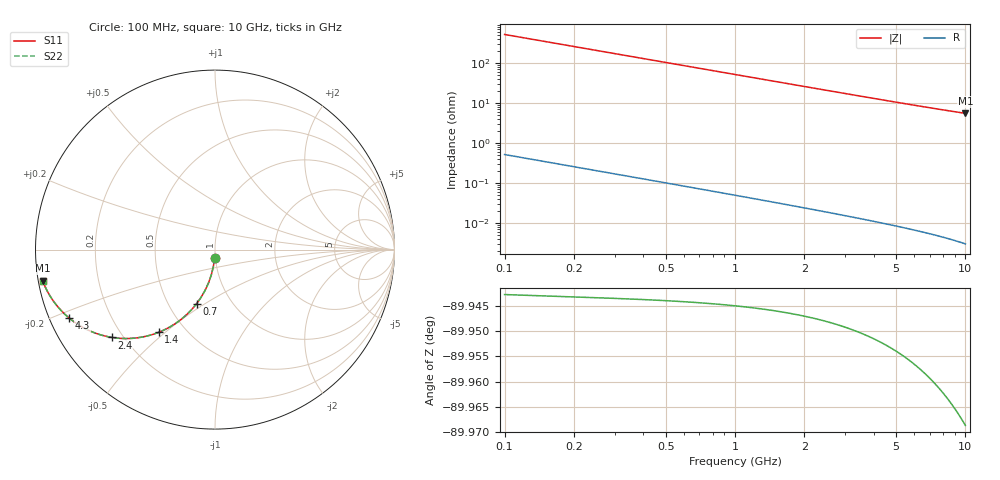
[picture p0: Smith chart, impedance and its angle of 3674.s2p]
# Hz S RI R 50.00
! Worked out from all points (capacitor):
!   100 points, 100 MHz to 10 GHz, reference 50 ohm
!   read as one part in shunt: C = 3.08 pF near 100 MHz
!   lowest |Z| = 5.53 ohm at 10 GHz (marker M1)
!   S11 on the Smith chart (normalised r, x): 100 MHz: 0.99, -0.10; 700 MHz: 0.69, -0.46; 1.4 GHz: 0.35, -0.48; 2.4 GHz: 0.16, -0.36; 4.3 GHz: 0.06, -0.22; 10 GHz: 0.01, -0.09
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1e8  -0.00228 -0.048  0.9975 -0.0484  0.9975 -0.0484  -0.00228 -0.048
2e8  -0.00926 -0.0954  0.9905 -0.0962  0.9905 -0.0962  -0.00926 -0.0954
3e8  -0.0206 -0.1415  0.9792 -0.1426  0.9792 -0.1426  -0.0206 -0.1415
4e8  -0.0361 -0.1856  0.9637 -0.1871  0.9637 -0.1871  -0.0361 -0.1856
5e8  -0.0553 -0.2274  0.9445 -0.2293  0.9445 -0.2293  -0.0553 -0.2274
6e8  -0.0778 -0.2663  0.922 -0.2686  0.922 -0.2686  -0.0778 -0.2663
7e8  -0.103 -0.3022  0.8968 -0.3049  0.8968 -0.3049  -0.103 -0.3022
8e8  -0.1303 -0.3348  0.8695 -0.3378  0.8695 -0.3378  -0.1303 -0.3348
1e9  -0.1897 -0.3897  0.8101 -0.3935  0.8101 -0.3935  -0.1897 -0.3897
1.2e9  -0.2521 -0.4315  0.7477 -0.4361  0.7477 -0.4361  -0.2521 -0.4315
1.4e9  -0.3145 -0.4612  0.6853 -0.4665  0.6853 -0.4665  -0.3145 -0.4612
1.8e9  -0.4313 -0.4913  0.5685 -0.4982  0.5685 -0.4982  -0.4313 -0.4913
2.1e9  -0.508 -0.4954  0.4918 -0.5034  0.4918 -0.5034  -0.508 -0.4954
2.4e9  -0.5742 -0.4893  0.4255 -0.4985  0.4255 -0.4985  -0.5742 -0.4893
2.9e9  -0.6634 -0.4664  0.3364 -0.4775  0.3364 -0.4775  -0.6634 -0.4664
3.4e9  -0.7305 -0.4365  0.2692 -0.4496  0.2692 -0.4496  -0.7305 -0.4365
3.8e9  -0.7722 -0.4115  0.2275 -0.4261  0.2275 -0.4261  -0.7722 -0.4115
4.3e9  -0.813 -0.381  0.1867 -0.3976  0.1867 -0.3976  -0.813 -0.381
5.1e9  -0.8598 -0.3366  0.1398 -0.3563  0.1398 -0.3563  -0.8598 -0.3366
6.7e9  -0.9142 -0.266  0.0852 -0.2922  0.0852 -0.2922  -0.9142 -0.266
8.4e9  -0.9441 -0.2117  0.0551 -0.2449  0.0551 -0.2449  -0.9441 -0.2117
1e10  -0.9603 -0.1734  0.0386 -0.2134  0.0386 -0.2134  -0.9603 -0.1734
